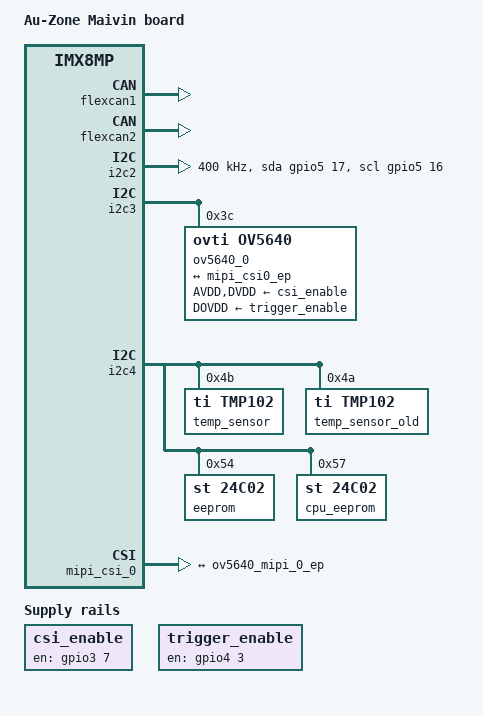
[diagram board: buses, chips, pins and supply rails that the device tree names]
// SPDX-License-Identifier: GPL-2.0+ OR MIT
/*
 * Copyright 2021 Au-Zone
 */

/dts-v1/;

#include "imx8mp-verdin.dtsi"
#include "imx8mp-verdin-dev.dtsi"

/ {
	model = "Au-Zone Maivin board";
	compatible = "toradex,verdin-imx8mp-nonwifi",
		     "toradex,verdin-imx8mp",
		     "fsl,imx8mp";

	csi_enable: csi_enable_pin {
		compatible = "regulator-fixed";
		regulator-name = "csi-enable";
		pinctrl-0 = <&pinctrl_csenable>;
		gpio = <&gpio3 7 GPIO_ACTIVE_HIGH>;
		enable-active-high;
	};

	trigger_enable: trigger_enable_pin {
		compatible = "regulator-fixed";
		regulator-name = "trigger_ov5640";
		pinctrl-0 = <&pinctrl_trigger>;
		gpio = <&gpio4 3 GPIO_ACTIVE_HIGH>;
		enable-active-high;
	};
};

/* Disable IEEE power saving */
&ethphy0 {
	eee-broken-100tx;
	eee-broken-1000t;
};

/* Verdin CAN_1 */
&flexcan1 {
	status = "okay";
};

/* Verdin CAN_2 */
&flexcan2 {
	status = "okay";
};

/* Verdin I2C_2_DSI */
&i2c2 {
	clock-frequency = <400000>;
	scl-gpios = <&gpio5 16 (GPIO_ACTIVE_HIGH | GPIO_OPEN_DRAIN)>;
	sda-gpios = <&gpio5 17 (GPIO_ACTIVE_HIGH | GPIO_OPEN_DRAIN)>;
};

/* Verdin I2C_4_CSI */
&i2c3 {
	#address-cells = <1>;
	#size-cells = <0>;
	status = "okay";

	ov5640_0: ov5640_mipi@3c {
		assigned-clocks = <&clk IMX8MP_CLK_IPP_DO_CLKO2>;
		assigned-clock-parents = <&clk IMX8MP_CLK_24M>;
		assigned-clock-rates = <24000000>;
		AVDD-supply = <&csi_enable>;
		DVDD-supply = <&csi_enable>;
		DOVDD-supply = <&trigger_enable>;
		compatible = "ovti,ov5640";
		clock-names = "xclk";
		clocks = <&clk IMX8MP_CLK_IPP_DO_CLKO2>;
		csi_id = <0>;
		mclk = <24000000>;
		mclk_source = <0>;
		mipi_csi;
		pinctrl-names = "default";
		reg = <0x3c>;

		port {
			ov5640_mipi_0_ep: endpoint {
				clock-lanes = <0>;
				data-lanes = <1 2>;
				remote-endpoint = <&mipi_csi0_ep>;
			};
		};
	};
};

/* Verdin I2C_1 */
&i2c4 {
	temp_sensor: tmp102@4b {
		compatible = "ti,tmp102", "tmp102";
		reg = <0x4b>;
	};

	/* To be compatible with old versions of the board */
	temp_sensor_old: tmp102@4a {
		compatible = "ti,tmp102", "tmp102";
		reg = <0x4a>;
	};

	/* EEPROM on the rear connector interface */
	eeprom@54 {
		compatible = "st,24c02";
		pagesize = <16>;
		reg = <0x54>;
	};

	cpu_eeprom@57 {
		compatible = "st,24c02";
		pagesize = <16>;
		reg = <0x57>;
	};
};

&iomuxc {
	pinctrl-0 = <&pinctrl_gpio1>, <&pinctrl_gpio2>,
		    <&pinctrl_gpio3>, <&pinctrl_gpio4>,
		    <&pinctrl_gpio_hog1>, <&pinctrl_gpio_hog2>, <&pinctrl_gpio_hog3>,
		    <&pinctrl_hdmi_hog>, <&pinctrl_pmic_tpm_ena>;

	pinctrl_flexspi0: flexspi0grp {
		fsl,pins = <
			MX8MP_IOMUXC_NAND_READY_B__GPIO3_IO16		0x1C4	/* SODIMM 64 */
			/*
			 * Setting bit 8(Pull up select field) high to enable pull
			 * Setting bit 7(Input select field) high to use Schmitt
			 * Setting bit 2(Drive strength field) high
			 * Setting bit 6(Pull Up/Down config field) high
			 * This needs to be a pull up since when the SW1 switch is pressed it is
			 * shorting this pin to ground
			 */

			MX8MP_IOMUXC_NAND_DATA00__FLEXSPI_A_DATA00	0x82	/* SODIMM 56 */
			MX8MP_IOMUXC_NAND_DATA03__FLEXSPI_A_DATA03	0x82	/* SODIMM 62 */
		>;
	};

	/* Used to enable DAC U5 output */
	pinctrl_pwm_1: pwm1grp {
		fsl,pins = <
			MX8MP_IOMUXC_SPDIF_EXT_CLK__GPIO5_IO05		0x184	/* SODIMM 15 */
		>;
	};

	/* Used to enable DAC U6 output */
	pinctrl_pwm_2: pwm2grp {
		fsl,pins = <
			MX8MP_IOMUXC_GPIO1_IO11__GPIO1_IO11		0x184	/* SODIMM 16 */
		>;
	};

	led_control: led {
		fsl,pins = <
			MX8MP_IOMUXC_NAND_DQS__GPIO3_IO14		0x82	/* SODIMM 66 */
		>;
	};

	led_wdi_control: led_wdi {
		fsl,pins = <
			MX8MP_IOMUXC_NAND_DATA02__GPIO3_IO08		0x82	/* SODIMM 60 */
		>;
	};

	Watchdog_control: WDI {
		fsl,pins = <
			MX8MP_IOMUXC_NAND_ALE__GPIO3_IO00		0x82	/* SODIMM 52 */
		>;
	};

	M2_PWR_EN_Control: M2_PWR_EN {
		fsl,pins = <
			MX8MP_IOMUXC_NAND_CE0_B__GPIO3_IO01		0x82	/* SODIMM 54 */
		>;
	};

	pinctrl_csenable: csenable {
		fsl,pins = <
			MX8MP_IOMUXC_NAND_DATA01__GPIO3_IO07		0x184	/* SODIMM 58 */
		>;
	};

	pinctrl_trigger: trigger {
		fsl,pins = <
			MX8MP_IOMUXC_SAI1_RXD1__GPIO4_IO03		0x184	/* SODIMM 220 */
		>;
	};

	pinctrl_trigger_2: trigger_2 {
		fsl,pins = <
			MX8MP_IOMUXC_SAI1_RXC__GPIO4_IO01		0x184	/* SODIMM 222 */
		>;
	};
};

&mipi_csi_0 {
	#address-cells = <1>;
	#size-cells = <0>;
	status = "okay";

	port@0 {
		reg = <0>;

		mipi_csi0_ep: endpoint {
			csis-hs-settle = <13>;
			csis-clk-settle = <2>;
			csis-wclk;
			data-lanes = <2>;
			remote-endpoint = <&ov5640_mipi_0_ep>;
		};
	};
};

/* Verdin UART_1 */
/* Enabling RS-245 operation */
&uart1 {
	fsl,uart-has-rtscts;
	linux,rs485-enabled-at-boot-time;
};
